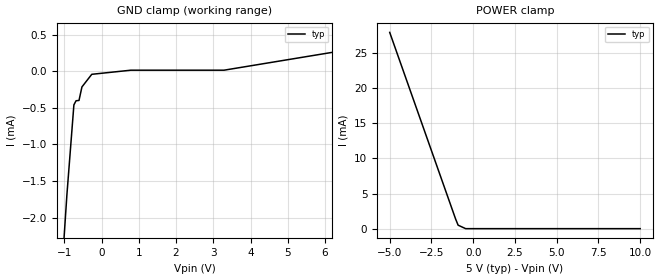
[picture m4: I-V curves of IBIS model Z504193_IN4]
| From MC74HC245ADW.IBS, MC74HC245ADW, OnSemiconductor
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| (C) COPYRIGHT 1993-2000
| MENTOR GRAPHICS CORPORATION
| ICX STANDARD LIBRARY, ICX PROJECT MODELING,
| ICX CUSTOM MODELING, ICX VENDOR MODEL
| ALL RIGHTS RESERVED.
| THE FOLLOWING ARE TRADEMARKS OR SERVICE MARKS OF
| MENTOR GRAPHICS CORPORATION:ICX (R), ICX STANDARD
| LIBRARY(R), ICX PROJECT MODELING(R), ICX CUSTOM
| MODELING(R), qualityIBIS(TM), MODELVIEWER(TM),
| AND MODELEDITOR(TM)
| ALL COPIES OF SOFTWARE, INCLUDING BUT NOT LIMITED TO
| ANY MODIFICATIONS, ENHANCEMENTS OR DERIVATIVE WORKS,
| MUST CONTAIN ALL MENTOR GRAPHICS CORPORATION'S
| NOTICES AND LEGENDS, INCLUDING THOSE EMBEDDED IN
| SOFTWARE AND THOSE AFFIXED TO SOFTWARE MEDIUM
| AND CONTAINER, AS RECEIVED FROM MENTOR GRAPHICS
| CORPORATION.
| Model Application Version 1.89 2/18/99.
[Model] Z504193_IN4
Model_type Input
Vinl = 1.000V
Vinh = 3.500V
C_comp 4.000pF NA NA
| variable typ   min   max
[Voltage Range] 5.000V NA NA
[GND Clamp Reference] 0.000V NA NA
[POWER Clamp Reference] 5.000V NA NA
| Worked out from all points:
|   GND clamp passes 1 mA (typ) near -0.83 V on its own axis
|   POWER clamp passes 1 mA (typ) near -0.99 V on its own axis
[GND Clamp]
-5V       -32.95mA   NA         NA
-931.6mV  -1.69mA    NA         NA
-743.7mV  -459.9uA   NA         NA
-685.5mV  -403.7uA   NA         NA
-606.5mV  -399.5uA   NA         NA
-527.6mV  -214.9uA   NA         NA
-263.8mV  -42.46uA   NA         NA
787.2mV   13.81uA    NA         NA
3.289V    13.81uA    NA         NA
10V       576.2uA    NA         NA
[POWER Clamp]
-5V       27.97mA    NA         NA
-1.055V   1.384mA    NA         NA
-903mV    494.9uA    NA         NA
-451.5mV  0A         NA         NA
10V       0A         NA         NA
